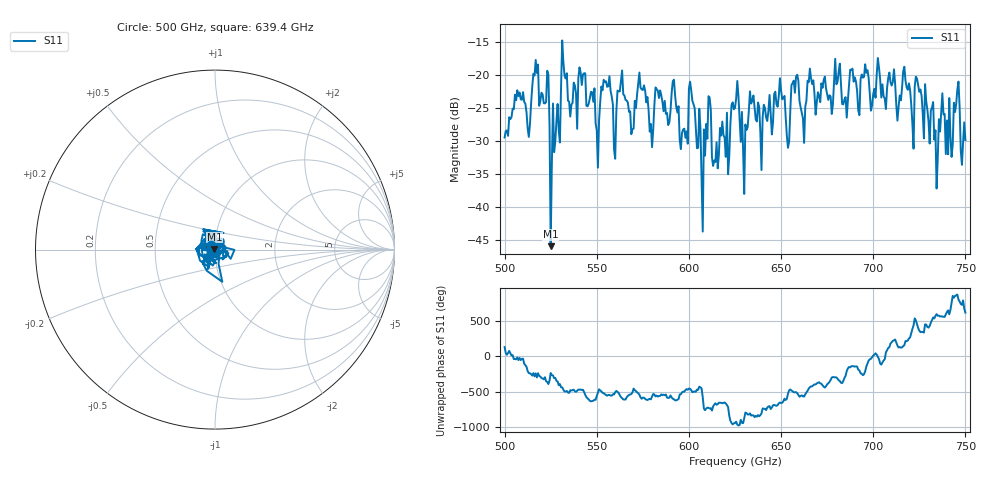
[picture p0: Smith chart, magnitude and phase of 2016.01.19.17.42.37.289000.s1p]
!Created with skrf (http://scikit-rf.org).
# GHz S RI R 50.0
!freq ReS11 ImS11
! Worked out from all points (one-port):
!   401 points, 500 GHz to 750 GHz, reference 50 ohm
!   lowest |S11| = -45.9 dB at 525 GHz (marker M1), VSWR 1.01, Z = 49.7 + j0.407 ohm
!   |S11| at or under -10 dB: start of sweep to end of sweep
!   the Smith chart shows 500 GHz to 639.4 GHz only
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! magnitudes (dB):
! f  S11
! 500 GHz  -29.4
! 506.9 GHz  -22.3
! 513.1 GHz  -29.3
! 516.9 GHz  -17.7
! 525 GHz  -45.9
! 531.2 GHz  -14.7
! 542.5 GHz  -19.9
! 550.6 GHz  -34.0
! 553.8 GHz  -20.7
! 559.4 GHz  -31.3
! 562.5 GHz  -22.4
! 593.8 GHz  -25.6
! 598.1 GHz  -29.5
! 601.2 GHz  -22.3
! 607.5 GHz  -43.7
! 610.6 GHz  -23.2
! 614.4 GHz  -33.2
! 625 GHz  -24.9
! 630.6 GHz  -27.5
! 633.8 GHz  -24.3
! 650.6 GHz  -23.6
! 653.8 GHz  -31.0
! 656.2 GHz  -21.2
! 687.5 GHz  -19.1
! 718.8 GHz  -22.2
! 734.4 GHz  -37.2
! 745 GHz  -24.4
! 750 GHz  -29.8
